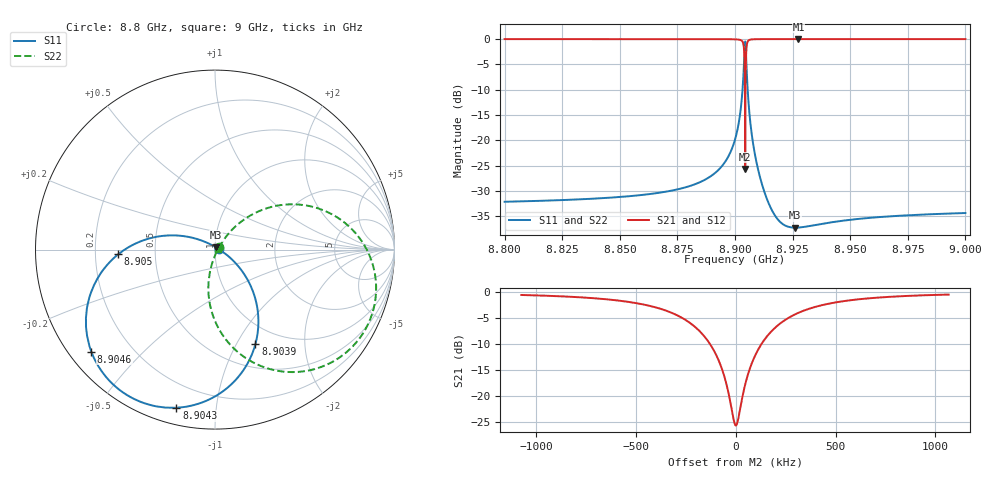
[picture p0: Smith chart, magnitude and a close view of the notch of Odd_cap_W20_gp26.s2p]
! Sonnet Data File
! From: emgraph Version : 16.52
! From Project: Resonator2_cp
! Data is De-embedded
! Data File Written: 10/07/2017 00:08:08
!< HDATE 10/06/2017 20:18:08
!< MDATE 10/06/2017 20:18:08
!< PARAMS
!< gap = 26.0
!< Length = 400.0
!< Pwid1 = 2000.0
!< Pwid2 = 2000.0
!< Air_gap = 12.0
!< Width = 20.0
!< END PARAMS
# GHZ S MA R 40.13000
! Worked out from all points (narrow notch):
!   1595 points, 8.8 GHz to 9 GHz, reference 40.13 ohm
!   highest |S21| = 0.00 dB at 8.9276 GHz (marker M1); lowest = -25.7 dB at 8.9044 GHz (marker M2)
!   notch at M2: 25.7 dB deep, 180 kHz wide at half that depth
!   lowest |S11| = -37.3 dB at 8.926 GHz (marker M3), VSWR 1.03, Z = 40.7 + j0.961 ohm
!   |S11| at or under -10 dB: start of sweep to 8.9033 GHz; 8.9055 GHz to end of sweep
!   |S22| runs from -37.3 to -0.5 dB; largest |S21 - S12| = 0
!   S11 on the Smith chart (normalised r, x): 8.8 GHz: 1.05, +0.00; 8.9039 GHz: 0.76, -1.20; 8.9043 GHz: 0.08, -0.78; 8.9046 GHz: 0.06, -0.36; 8.905 GHz: 0.30, -0.02; 9 GHz: 1.04, +0.01
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8.8  0.02466 2.6  0.9997 -74.0  0.9997 -74.0  0.02466 29.4
!< P1 F=8.8 Eeff=(5.24625567 -2.3027e-5) Z0=(40.1432274 8.93341e-5) R=0.0 C=0.0
!< P2 F=8.8 Eeff=(5.24625567 -2.3027e-5) Z0=(40.1432274 8.93341e-5) R=0.0 C=0.0
8.8334  0.02611 0.1  0.9997 -74.4  0.9997 -74.4  0.02611 31.1
8.8668  0.0302 -5.1  0.9995 -75.0  0.9995 -75.0  0.03021 35.2
8.8898  0.04462 -15.4  0.999 -76.1  0.999 -76.1  0.04464 43.1
8.9  0.1014 -29.1  0.9945 -79.5  0.9945 -79.5  0.1015 49.7
8.902775  0.234 -41.8  0.9695 -87.3  0.9695 -87.3  0.2343 45.9
8.903907  0.5731 -66.9  0.7979 -108.7  0.7979 -108.7  0.574 25.1
8.904179  0.794 -87.2  0.5485 -126.1  0.5485 -126.1  0.7952 6.0
8.904318  0.9068 -103.7  0.2947 -137.2  0.2947 -137.2  0.9082 -10.0
8.904438  0.9472 -120.8  0.05212 -75.2  0.05212 -75.2  0.9486 -26.6
8.904507  0.9327 -130.9  0.1801 -10.3  0.1801 -10.3  0.9341 -36.5
8.904575  0.8933 -140.5  0.3344 -11.6  0.3344 -11.6  0.8947 -45.7
8.904989  0.5406 -177.2  0.8206 -41.0  0.8206 -41.0  0.5414 -80.6
8.905615  0.2855 164.1  0.9531 -57.2  0.9531 -57.2  0.286 -96.4
8.907245  0.1155 149.4  0.9923 -67.2  0.9923 -67.2  0.1157 -102.9
8.911815  0.03606 128.9  0.9992 -71.9  0.9992 -71.9  0.03616 -92.3
8.918  0.01716 96.9  0.9998 -73.3  0.9998 -73.3  0.01722 -63.3
8.926003  0.01368 59.7  0.9999 -73.9  0.9999 -73.9  0.01371 -27.6
8.927561  0.01372 54.8  0.9999 -74.0  0.9999 -74.0  0.01374 -22.8
8.9334  0.01433 41.4  0.9999 -74.2  0.9999 -74.2  0.01435 -9.9
8.9668  0.01768 18.8  0.9998 -74.9  0.9998 -74.9  0.01768 11.4
9  0.01909 13.4  0.9998 -75.3  0.9998 -75.3  0.01909 15.9
